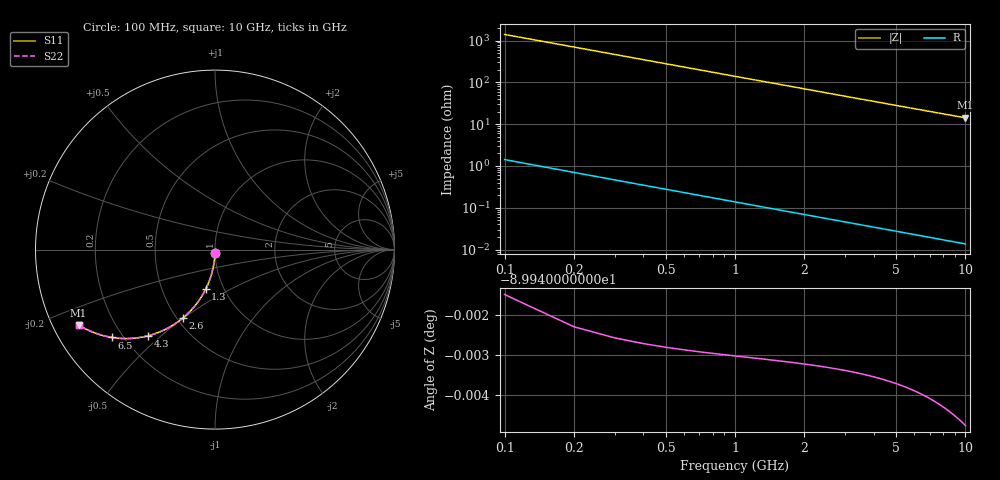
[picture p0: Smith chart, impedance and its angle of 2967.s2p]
# Hz S RI R 50.00
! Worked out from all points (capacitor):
!   100 points, 100 MHz to 10 GHz, reference 50 ohm
!   read as one part in shunt: C = 1.14 pF near 100 MHz
!   lowest |Z| = 14.2 ohm at 10 GHz (marker M1)
!   S11 on the Smith chart (normalised r, x): 100 MHz: 1.00, -0.04; 1.3 GHz: 0.82, -0.38; 2.6 GHz: 0.54, -0.50; 4.3 GHz: 0.30, -0.45; 6.5 GHz: 0.16, -0.36; 10 GHz: 0.08, -0.26
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1e8  -0.000323 -0.0179  0.9996 -0.018  0.9996 -0.018  -0.000323 -0.0179
2e8  -0.0013 -0.0357  0.9987 -0.036  0.9987 -0.036  -0.0013 -0.0357
3e8  -0.00292 -0.0534  0.997 -0.0538  0.997 -0.0538  -0.00292 -0.0534
4e8  -0.00517 -0.0711  0.9948 -0.0716  0.9948 -0.0716  -0.00517 -0.0711
5e8  -0.00805 -0.0886  0.9919 -0.0893  0.9919 -0.0893  -0.00805 -0.0886
6e8  -0.0115 -0.1059  0.9884 -0.1067  0.9884 -0.1067  -0.0115 -0.1059
7e8  -0.0156 -0.1231  0.9844 -0.124  0.9844 -0.124  -0.0156 -0.1231
8e8  -0.0203 -0.14  0.9797 -0.1411  0.9797 -0.1411  -0.0203 -0.14
1e9  -0.0313 -0.1729  0.9687 -0.1743  0.9687 -0.1743  -0.0313 -0.1729
1.3e9  -0.0517 -0.22  0.9483 -0.2218  0.9483 -0.2218  -0.0517 -0.22
1.5e9  -0.0676 -0.2495  0.9324 -0.2516  0.9324 -0.2516  -0.0676 -0.2495
1.8e9  -0.0944 -0.2907  0.9056 -0.2932  0.9056 -0.2932  -0.0944 -0.2907
2.2e9  -0.1346 -0.3393  0.8654 -0.3423  0.8654 -0.3423  -0.1346 -0.3393
2.6e9  -0.1783 -0.3805  0.8217 -0.384  0.8217 -0.384  -0.1783 -0.3805
3.4e9  -0.2702 -0.4412  0.7298 -0.4459  0.7298 -0.4459  -0.2702 -0.4412
4.3e9  -0.3714 -0.4797  0.6286 -0.4856  0.6286 -0.4856  -0.3714 -0.4797
5.1e9  -0.4534 -0.4938  0.5465 -0.5009  0.5465 -0.5009  -0.4534 -0.4938
6.5e9  -0.5734 -0.4895  0.4266 -0.4986  0.4266 -0.4986  -0.5734 -0.4895
6.7e9  -0.588 -0.487  0.4119 -0.4964  0.4119 -0.4964  -0.588 -0.487
7.5e9  -0.6411 -0.4739  0.3588 -0.4844  0.3588 -0.4844  -0.6411 -0.4739
8.4e9  -0.6912 -0.4555  0.3087 -0.4674  0.3087 -0.4674  -0.6912 -0.4555
1e10  -0.7601 -0.4194  0.2398 -0.4336  0.2398 -0.4336  -0.7601 -0.4194
